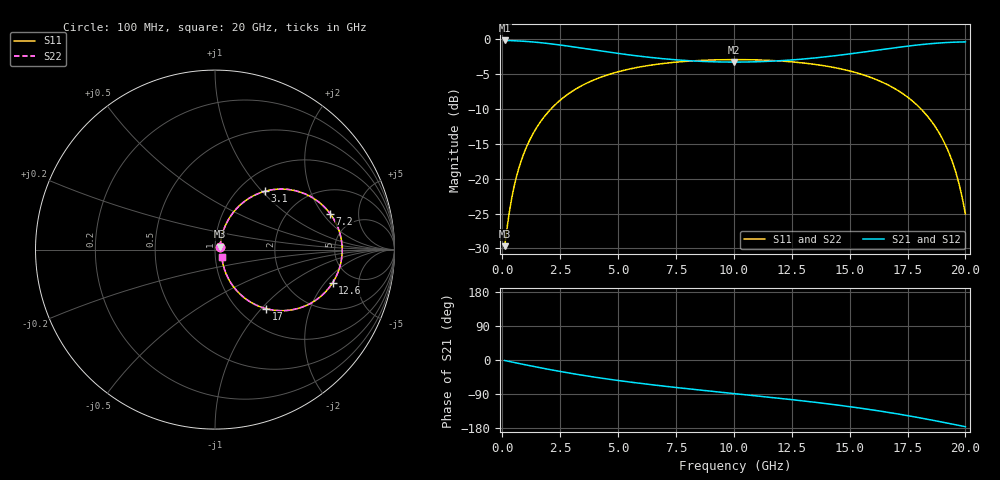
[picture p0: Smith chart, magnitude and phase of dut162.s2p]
! Touchstone file exported from HFSS 2026.1.0
!  File:  C:/ffzhzh/LocalFiles/Ansys_Project_Files/temp_train_TSV_RDL_162_1783053833_17544.aedt
!  Generated:  12:56:41 PM Jul  3, 2026
!  Design:  TSV_RDL
!  Project:  temp_train_TSV_RDL_162_1783053833_17544
! Variables:
!  h_bsmrdl = 2.16um
!  h_ox = 20um
!  h_rdl = 5um
!  h_sub = 62.39um
!  h_tmrdl = 4.62um
!  h_tsv = 62.39um
!  h_via = 3um
!  l_bsmrdl = 204.31um
!  l_sub = 3119.22um
!  l_tmrdl = 509.78um
!  m_sub = 200um
!  pitch = 51.12um
!  r_tsv = 2.85um
!  s_tmrdl = 10um
!  w_bsmrdl = 10.26um
!  w_sub = 500um
!  w_tmrdl = 12.13um
!  x_tsv_center1 = 515.845um
!  x_tsv_center2 = 730.415um
!  x_tsv_center3 = 1252.325um
!  x_tsv_center4 = 1466.895um
!  x_tsv_center5 = 1988.805um
!  x_tsv_center6 = 2203.375um
# GHz S MA R 50.000000
! Terminal data exported
! Port[1] = TM_RDL1_1_T1
! Port[2] = TM_RDL5_1_T1
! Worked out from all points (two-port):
!   200 points, 100 MHz to 20 GHz, reference 50 ohm
!   highest |S21| = -0.25 dB at 100 MHz (marker M1); lowest = -3.3 dB at 10 GHz (marker M2)
!   |S21| within 3 dB of the highest: start of sweep to 8.671 GHz; 11.4 GHz to end of sweep
!   lowest |S11| = -29.7 dB at 100 MHz (marker M3), VSWR 1.07, Z = 52.9 + j1.68 ohm
!   |S11| at or under -10 dB: start of sweep to 2.115 GHz; 18.07 GHz to end of sweep
!   |S22| runs from -29.7 to -3.0 dB; largest |S21 - S12| = 4e-14
!   S11 on the Smith chart (normalised r, x): 100 MHz: 1.06, +0.03; 3.1 GHz: 1.31, +1.04; 7.2 GHz: 3.25, +2.38; 12.6 GHz: 3.50, -2.42; 17 GHz: 1.31, -1.06; 20 GHz: 1.07, -0.09
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0.1  0.03284 28.8  0.9715 -1.3  0.9715 -1.3  0.03284 28.8
! Gamma 0 0 0 0
! Port Impedance 50 0 50 0
0.3  0.05697 55.7  0.9699 -3.9  0.9699 -3.9  0.05697 55.7
0.5  0.08627 63.6  0.9673 -6.4  0.9673 -6.4  0.08627 63.6
0.8  0.1314 66.6  0.9617 -10.2  0.9617 -10.2  0.1314 66.6
1.1  0.1761 66.1  0.9544 -13.9  0.9544 -13.9  0.1761 66.1
1.9  0.2884 60.4  0.9271 -23.5  0.9271 -23.5  0.2884 60.4
3.1  0.4292 49.3  0.8728 -36.6  0.8728 -36.6  0.4292 49.3
3.5  0.4679 45.7  0.8534 -40.6  0.8534 -40.6  0.4679 45.7
4.9  0.5741 33.8  0.7892 -53.2  0.7892 -53.2  0.5741 33.8
6.8  0.6602 20.0  0.7232 -67.7  0.7232 -67.7  0.6602 20.0
7.2  0.672 17.4  0.7131 -70.5  0.7131 -70.5  0.6719 17.4
10  0.7087 0.1  0.6802 -88.5  0.6802 -88.5  0.7087 0.1
10.1  0.7087 -0.5  0.6802 -89.1  0.6802 -89.1  0.7087 -0.5
12.6  0.6807 -15.8  0.7067 -105.2  0.7067 -105.2  0.6807 -15.8
13.4  0.6585 -21.1  0.7258 -110.8  0.7258 -110.8  0.6584 -21.1
15.2  0.5764 -34.1  0.7863 -124.8  0.7863 -124.8  0.5764 -34.1
16.7  0.4633 -46.6  0.8501 -138.5  0.8501 -138.5  0.4633 -46.5
17  0.4348 -49.2  0.8632 -141.5  0.8632 -141.5  0.4348 -49.2
18.1  0.3123 -58.8  0.9078 -153.4  0.9078 -153.4  0.3123 -58.8
18.9  0.2073 -64.5  0.9325 -162.7  0.9325 -162.7  0.2073 -64.5
19.5  0.123 -64.6  0.9442 -169.9  0.9442 -169.9  0.1231 -64.5
20  0.05586 -47.8  0.9484 -176.1  0.9484 -176.1  0.05596 -47.6
